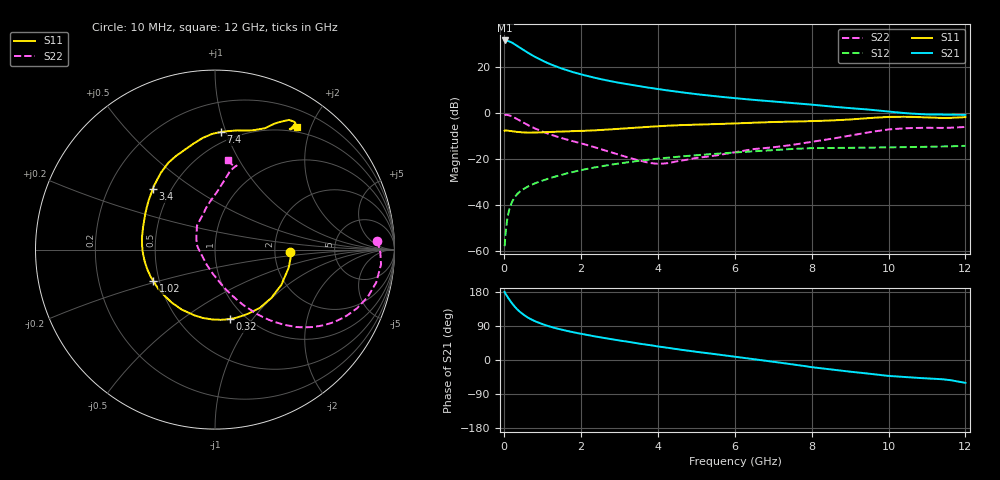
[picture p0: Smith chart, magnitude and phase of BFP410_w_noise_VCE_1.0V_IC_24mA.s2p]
! Infineon Technologies  Discrete & RF Semiconductors
! BFP410
! VCE =  1.0 V,  IC =  24 mA
! Common Emitter S-Parameters:  Nov 2015
# GHz  S  MA  R  50
!  f  S11  S21  S12  S22
! GHz  MAG  ANG  MAG  ANG  MAG  ANG  MAG  ANG
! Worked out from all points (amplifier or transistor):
!   243 points, 10 MHz to 12 GHz, reference 50 ohm
!   highest |S21| = 31.6 dB at 20 MHz (marker M1)
!   |S21| within 3 dB of that: start of sweep to 400.3 MHz
!   unconditionally stable (mu >= 1): start of sweep to 19.06 MHz; 1.497 GHz to end of sweep
!   at 240 MHz: K = 0.34, MSG = 33.8 dB, |S12| = -37.4 dB
!   at 1.84 GHz: K = 1.07, MAG = 19.9 dB, |S12| = -25.3 dB
!   at 12 GHz: K = 1.01, MAG = 6.3 dB, |S12| = -14.2 dB
!   lowest NFmin = 1.85 dB at 450 MHz
!   S11 on the Smith chart (normalised r, x): 10 MHz: 2.42, -0.08; 320 MHz: 0.85, -0.78; 1.02 GHz: 0.46, -0.19; 3.4 GHz: 0.40, +0.35; 7.4 GHz: 0.42, +0.96; 12 GHz: 0.42, +1.80
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0.01  0.4162 -1.8  37.56 179.7  0.0013 123.6  0.9058 3.1
0.02  0.424 -5.8  38.02 176.8  0.0017 91.2  0.9213 -1.0
0.1  0.4187 -27.8  37.11 164.4  0.0063 81.2  0.9173 -11.4
0.155  0.4124 -41.7  35.59 156.1  0.0093 76.4  0.8869 -17.8
0.2  0.4097 -52.6  34.21 149.9  0.0116 73.3  0.8556 -22.5
0.24  0.4025 -61.5  32.66 144.8  0.0135 70.7  0.824 -26.3
0.32  0.3949 -77.9  29.77 135.6  0.0169 66.7  0.758 -32.9
0.4  0.3897 -92.0  26.93 127.7  0.0197 63.5  0.6943 -38.4
0.45  0.3869 -99.7  25.26 123.5  0.0212 62.2  0.6578 -41.2
0.6  0.3821 -118.9  20.95 112.7  0.0253 59.4  0.5614 -47.9
0.8  0.3808 -137.8  16.74 102.3  0.0301 57.8  0.4671 -54.2
1.02  0.386 -153.0  13.53 93.7  0.0351 56.9  0.3917 -59.4
1.42  0.3983 -172.2  9.846 81.8  0.0443 55.8  0.3008 -66.9
2.02  0.4137 167.9  6.909 68.8  0.0587 52.8  0.2197 -75.9
2.6  0.4378 152.4  5.303 58.0  0.0722 48.6  0.1576 -87.7
3.4  0.4842 135.7  4.003 45.2  0.0903 42.2  0.0998 -114.8
4.1  0.5282 123.7  3.257 34.4  0.1055 35.9  0.0803 -156.3
6.1  0.6063 100.5  2.087 7.4  0.1424 18.0  0.147 134.0
7.4  0.6561 87.1  1.699 -10.1  0.1666 5.2  0.2005 110.8
8.2  0.6818 76.8  1.48 -21.3  0.175 -4.3  0.2539 98.6
10.2  0.8349 59.2  1.048 -43.4  0.1824 -20.5  0.457 78.1
12  0.8233 56.1  0.923 -60.2  0.1961 -35.0  0.5037 81.5
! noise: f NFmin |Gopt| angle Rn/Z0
0.45  1.85  0.17  -160  0.18
0.9  1.85  0.2  -157  0.16
1.8  2  0.24  -139  0.19
2.4  2  0.28  -125  0.24
5.5  2.89  0.46  -101  0.5
10  4.02  0.72  -45  2.79
